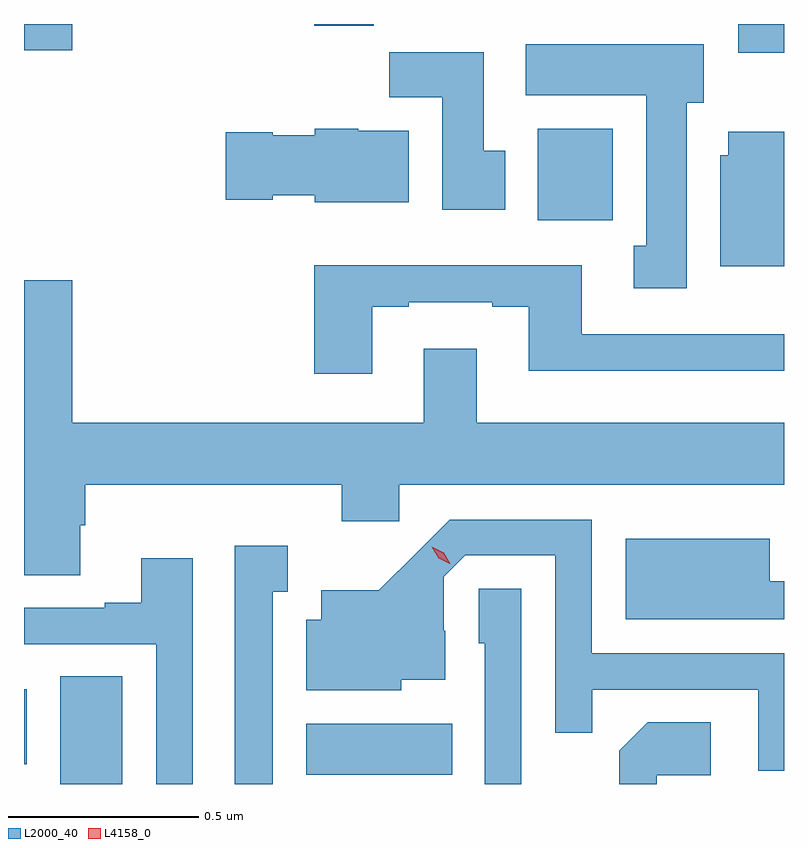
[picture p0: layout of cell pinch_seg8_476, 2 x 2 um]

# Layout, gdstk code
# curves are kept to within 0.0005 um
import gdstk
lib = gdstk.Library(unit=1e-6, precision=1e-09)
def R(c, l, rs):  # rectangles x0, y0, x1, y1
    for r in rs: c.add(gdstk.rectangle(r[:2], r[2:], *l))
def P(c, l, *ps):  # polygons
    for p in ps: c.add(gdstk.Polygon(p, *l))
L2000_40 = (2000, 40)
L4158_0 = (4158, 0)

pinch_seg8_476 = lib.new_cell('pinch_seg8_476')
R(pinch_seg8_476, L2000_40, [(117.188,1129.033,117.352,1129.316), (117.836,1129.058,118.22,1129.192), (117.093,1129.085,117.1,1129.282), (118.445,1130.516,118.642,1130.758), (118.973,1130.958,119.093,1131.033), (117.093,1130.964,117.22,1131.033), (117.857,1131.028,118.013,1131.033)])
P(pinch_seg8_476, L2000_40, [(118.837,1130.826),(118.882,1130.826),(118.882,1130.98),(118.413,1130.98),(118.413,1130.846),(118.73,1130.846),(118.73,1130.45),(118.697,1130.45),(118.697,1130.337),(118.837,1130.337)],
  [(118.36,1130.7),(118.303,1130.7),(118.303,1130.959),(118.054,1130.959),(118.054,1130.84),(118.193,1130.84),(118.193,1130.544),(118.36,1130.544)],
  [(118.105,1130.752),(117.972,1130.752),(117.972,1130.758),(117.858,1130.758),(117.858,1130.74),(117.747,1130.74),(117.747,1130.748),(117.624,1130.748),(117.624,1130.57),(117.747,1130.57),(117.747,1130.582),(117.858,1130.582),(117.858,1130.564),(118.105,1130.564)],
  [(119.093,1130.749),(118.946,1130.749),(118.946,1130.688),(118.925,1130.688),(118.925,1130.396),(119.093,1130.396)],
  [(118.009,1130.289),(118.105,1130.289),(118.105,1130.301),(118.325,1130.301),(118.325,1130.289),(118.421,1130.289),(118.421,1130.12),(119.093,1130.12),(119.093,1130.217),(118.561,1130.217),(118.561,1130.398),(117.857,1130.398),(117.857,1130.112),(118.009,1130.112)],
  [(117.241,1129.714),(117.254,1129.714),(117.254,1129.82),(117.929,1129.82),(117.929,1129.725),(118.08,1129.725),(118.08,1129.82),(119.093,1129.82),(119.093,1129.984),(118.285,1129.984),(118.285,1130.179),(118.145,1130.179),(118.145,1129.984),(117.22,1129.984),(117.22,1130.359),(117.093,1130.359),(117.093,1129.707),(117.094,1129.707),(117.094,1129.582),(117.241,1129.582)],
  [(119.093,1129.377),(118.587,1129.377),(118.587,1129.728),(118.214,1129.728),(118.027,1129.543),(117.875,1129.543),(117.875,1129.465),(117.836,1129.465),(117.836,1129.28),(118.086,1129.28),(118.086,1129.307),(118.201,1129.307),(118.201,1129.436),(118.197,1129.436),(118.197,1129.578),(118.254,1129.635),(118.491,1129.635),(118.491,1129.168),(118.589,1129.168),(118.589,1129.281),(119.025,1129.281),(119.025,1129.068),(119.093,1129.068)],
  [(119.093,1129.567),(119.056,1129.567),(119.056,1129.678),(118.676,1129.678),(118.676,1129.466),(119.093,1129.466)],
  [(117.748,1129.539),(117.787,1129.539),(117.787,1129.66),(117.647,1129.66),(117.647,1129.033),(117.748,1129.033)],
  [(117.537,1129.627),(117.401,1129.627),(117.401,1129.51),(117.305,1129.51),(117.305,1129.497),(117.093,1129.497),(117.093,1129.401),(117.441,1129.401),(117.441,1129.033),(117.537,1129.033)],
  [(118.401,1129.547),(118.29,1129.547),(118.29,1129.404),(118.305,1129.404),(118.305,1129.033),(118.401,1129.033)],
  [(118.758,1129.056),(118.9,1129.056),(118.9,1129.196),(118.735,1129.196),(118.659,1129.12),(118.659,1129.033),(118.758,1129.033)])
P(pinch_seg8_476, L4158_0, [(118.214,1129.612),(118.184,1129.627),(118.166,1129.657),(118.166,1129.657),(118.166,1129.657),(118.197,1129.642),(118.215,1129.612),(118.215,1129.612)])

lib.write_gds('pinch_seg8_476.gds')
